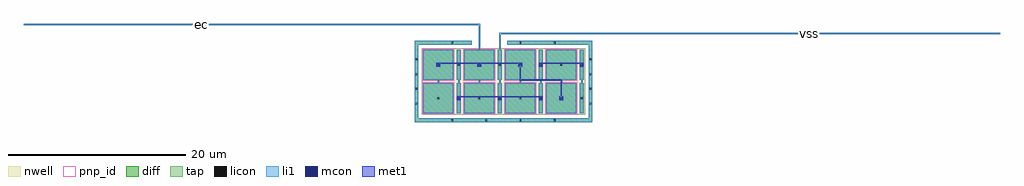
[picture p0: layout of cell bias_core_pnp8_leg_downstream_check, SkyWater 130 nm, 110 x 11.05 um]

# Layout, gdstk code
import gdstk
lib = gdstk.Library(unit=1e-6, precision=1e-09)
def R(c, l, rs):  # rectangles x0, y0, x1, y1
    for r in rs: c.add(gdstk.rectangle(r[:2], r[2:], *l))
def A(c, l, x, y, w, h, nx, ny, dx, dy):  # array of equal rectangles
    R(c, l, [(x+i*dx, y+j*dy, x+i*dx+w, y+j*dy+h) for i in range(nx) for j in range(ny)])
def P(c, l, *ps):  # polygons
    for p in ps: c.add(gdstk.Polygon(p, *l))
nwell = (64, 20)
diff = (65, 20)
tap = (65, 44)
licon = (66, 44)
li1 = (67, 20)
mcon = (67, 44)
met1 = (68, 20)
pnp_id = (82, 44)

stub_vss__promo_stub = lib.new_cell('stub_vss__promo_stub')
R(stub_vss__promo_stub, li1, [(0,0,1.5,0.17)])

stub_ec__promo_stub = lib.new_cell('stub_ec__promo_stub')
R(stub_ec__promo_stub, li1, [(0,0,1.5,0.17)])

bjt_array = lib.new_cell('bjt_array')
R(bjt_array, nwell, [(-0.15,-0.15,18.23,7.35)])
A(bjt_array, diff, 0, 0, 3.4, 3.4, 4, 2, 4.62, 3.8)
A(bjt_array, diff, 3.8, 0, 0.42, 3.4, 4, 2, 4.62, 3.8)
P(bjt_array, diff, [(-0.97,-0.97),(-0.97,8.17),(5.475,8.17),(5.475,7.75),(-0.55,7.75),(-0.55,-0.55),(18.63,-0.55),(18.63,7.75),(9.475,7.75),(9.475,8.17),(19.05,8.17),(19.05,-0.97)])
A(bjt_array, tap, 3.8, 0, 0.42, 3.4, 4, 2, 4.62, 3.8)
A(bjt_array, licon, 3.176, -0.87, 0.22, 0.22, 4, 1, 3.836, 0)
A(bjt_array, licon, -0.87, 1, 0.22, 0.22, 1, 4, 0, 1.66)
A(bjt_array, licon, 18.73, 1, 0.22, 0.22, 1, 4, 0, 1.66)
A(bjt_array, licon, 1.59, 1.59, 0.22, 0.22, 8, 2, 2.31, 3.8)
R(bjt_array, licon, [(3.176,7.85,3.396,8.07), (10.848,7.85,11.068,8.07), (14.684,7.85,14.904,8.07)])
A(bjt_array, li1, 0, 0, 3.4, 3.4, 4, 2, 4.62, 3.8)
A(bjt_array, li1, 3.8, 0, 0.42, 3.4, 4, 2, 4.62, 3.8)
P(bjt_array, li1, [(-0.97,-0.97),(-0.97,8.17),(5.475,8.17),(5.475,7.75),(-0.55,7.75),(-0.55,-0.55),(18.63,-0.55),(18.63,7.75),(9.475,7.75),(9.475,8.17),(19.05,8.17),(19.05,-0.97)])
A(bjt_array, pnp_id, -0.1, -0.1, 3.6, 3.6, 4, 2, 4.62, 3.8)

array__pnp8 = lib.new_cell('array__pnp8')
array__pnp8.add(gdstk.Reference(bjt_array, (0,0)))

sub__bias_core_pnp8_leg = lib.new_cell('sub__bias_core_pnp8_leg')
A(sub__bias_core_pnp8_leg, li1, 1.59, 1.7, 0.22, 0.17, 8, 1, 2.31, 0)
A(sub__bias_core_pnp8_leg, li1, 1.59, 5.5, 0.22, 0.17, 3, 1, 2.31, 0)
A(sub__bias_core_pnp8_leg, li1, 8.52, 5.5, 0.22, 0.17, 5, 1, 2.31, 0)
R(sub__bias_core_pnp8_leg, li1, [(3.8,1.49,4.22,1.91), (8.42,1.49,8.84,1.91), (8.42,1.49,8.84,1.91), (13.04,1.49,13.46,1.91), (15.35,1.49,15.77,1.91), (1.49,5.29,1.91,5.71), (6.11,5.29,6.53,5.71), (6.11,5.29,6.53,5.71), (10.73,5.29,11.15,5.71), (10.73,5.29,11.15,5.71), (13.04,5.29,13.46,5.71), (17.66,5.29,18.08,5.71), (6.21,5.5,6.43,5.67), (8.52,5.5,8.74,5.67)])
R(sub__bias_core_pnp8_leg, mcon, [(3.9,1.59,4.12,1.81), (8.52,1.59,8.74,1.81), (8.52,1.59,8.74,1.81), (13.14,1.59,13.36,1.81), (15.45,1.59,15.67,1.81), (1.59,5.39,1.81,5.61), (6.21,5.39,6.43,5.61), (6.21,5.39,6.43,5.61), (10.83,5.39,11.05,5.61), (10.83,5.39,11.05,5.61), (13.14,5.39,13.36,5.61), (17.76,5.39,17.98,5.61)])
R(sub__bias_core_pnp8_leg, met1, [(3.8,1.49,4.22,1.91), (8.42,1.49,8.84,1.91), (8.42,1.49,8.84,1.91), (13.04,1.49,13.46,1.91), (15.35,1.49,15.77,1.91), (1.49,5.29,1.91,5.71), (6.11,5.29,6.53,5.71), (6.11,5.29,6.53,5.71), (10.73,5.29,11.15,5.71), (10.73,5.29,11.15,5.71), (13.04,5.29,13.46,5.71), (17.66,5.29,18.08,5.71)])
sub__bias_core_pnp8_leg.add(gdstk.FlexPath([(8.63,1.7),(8.63,5.5)], 0.17, ends="flush", simple_path=True, layer=67, datatype=20))  # li1
sub__bias_core_pnp8_leg.add(gdstk.FlexPath([(13.25,5.5),(13.25,1.7)], 0.17, ends="flush", simple_path=True, layer=67, datatype=20))  # li1
sub__bias_core_pnp8_leg.add(gdstk.FlexPath([(4.01,1.7),(4.01,5.5)], 0.17, ends="flush", simple_path=True, layer=67, datatype=20))  # li1
sub__bias_core_pnp8_leg.add(gdstk.FlexPath([(17.87,5.5),(17.87,1.7)], 0.17, ends="flush", simple_path=True, layer=67, datatype=20))  # li1
sub__bias_core_pnp8_leg.add(gdstk.FlexPath([(8.63,5.5),(8.63,9),(22,9)], 0.17, ends="flush", simple_path=True, layer=67, datatype=20))  # li1
sub__bias_core_pnp8_leg.add(gdstk.FlexPath([(6.32,1.7),(6.32,5.5)], 0.17, ends="flush", simple_path=True, layer=67, datatype=20))  # li1
sub__bias_core_pnp8_leg.add(gdstk.FlexPath([(10.94,5.5),(10.94,1.7)], 0.17, ends="flush", simple_path=True, layer=67, datatype=20))  # li1
sub__bias_core_pnp8_leg.add(gdstk.FlexPath([(1.7,1.7),(1.7,5.5)], 0.17, ends="flush", simple_path=True, layer=67, datatype=20))  # li1
sub__bias_core_pnp8_leg.add(gdstk.FlexPath([(15.56,5.5),(15.56,1.7)], 0.17, ends="flush", simple_path=True, layer=67, datatype=20))  # li1
sub__bias_core_pnp8_leg.add(gdstk.FlexPath([(6.32,5.5),(6.32,10),(-3.5,10)], 0.17, ends="flush", simple_path=True, layer=67, datatype=20))  # li1
sub__bias_core_pnp8_leg.add(gdstk.FlexPath([(13.25,5.5),(13.25,5.67),(17.87,5.67),(17.87,5.5)], 0.14, ends="flush", simple_path=True, layer=68, datatype=20))  # met1
sub__bias_core_pnp8_leg.add(gdstk.FlexPath([(8.63,1.7),(8.63,1.87),(4.01,1.87),(4.01,1.7)], 0.14, ends="flush", simple_path=True, layer=68, datatype=20))  # met1
sub__bias_core_pnp8_leg.add(gdstk.FlexPath([(8.63,1.7),(8.63,1.87),(13.25,1.87),(13.25,1.7)], 0.14, ends="flush", simple_path=True, layer=68, datatype=20))  # met1
sub__bias_core_pnp8_leg.add(gdstk.FlexPath([(10.94,5.5),(10.94,5.67),(6.32,5.67),(6.32,5.5)], 0.14, ends="flush", simple_path=True, layer=68, datatype=20))  # met1
sub__bias_core_pnp8_leg.add(gdstk.FlexPath([(6.32,5.5),(6.32,5.67),(1.7,5.67),(1.7,5.5)], 0.14, ends="flush", simple_path=True, layer=68, datatype=20))  # met1
sub__bias_core_pnp8_leg.add(gdstk.FlexPath([(10.94,5.5),(10.94,3.77),(15.56,3.77),(15.56,1.7)], 0.14, ends="flush", simple_path=True, layer=68, datatype=20))  # met1
sub__bias_core_pnp8_leg.add(gdstk.Reference(stub_vss__promo_stub, (22,8.915)))
sub__bias_core_pnp8_leg.add(gdstk.Reference(stub_ec__promo_stub, (-5,9.915)))
sub__bias_core_pnp8_leg.add(gdstk.Reference(array__pnp8, (0,0)))
sub__bias_core_pnp8_leg.add(gdstk.Label('vss', (8.63,3.6), layer=67, texttype=5))
sub__bias_core_pnp8_leg.add(gdstk.Label('ec', (6.32,3.6), layer=67, texttype=5))
sub__bias_core_pnp8_leg.add(gdstk.Label('ec', (-5,10), layer=67, texttype=5))
sub__bias_core_pnp8_leg.add(gdstk.Label('vss', (23.5,9), layer=67, texttype=5))

dummy_ec__promo_stub = lib.new_cell('dummy_ec__promo_stub')
R(dummy_ec__promo_stub, li1, [(0,0,1.5,0.17)])

dummy_vss__promo_stub = lib.new_cell('dummy_vss__promo_stub')
R(dummy_vss__promo_stub, li1, [(0,0,1.5,0.17)])

bias_core_pnp8_leg_downs = lib.new_cell('bias_core_pnp8_leg_downstream_check')
bias_core_pnp8_leg_downs.add(gdstk.FlexPath([(-5,10),(-45,10)], 0.17, ends="flush", simple_path=True, layer=67, datatype=20))  # li1
bias_core_pnp8_leg_downs.add(gdstk.FlexPath([(23.5,9),(63.5,9)], 0.17, ends="flush", simple_path=True, layer=67, datatype=20))  # li1
bias_core_pnp8_leg_downs.add(gdstk.Reference(sub__bias_core_pnp8_leg, (0,0)))
bias_core_pnp8_leg_downs.add(gdstk.Reference(dummy_ec__promo_stub, (-45,9.915)))
bias_core_pnp8_leg_downs.add(gdstk.Reference(dummy_vss__promo_stub, (63.5,8.915)))
bias_core_pnp8_leg_downs.add(gdstk.Label('ec', (-25,10), layer=67, texttype=5))
bias_core_pnp8_leg_downs.add(gdstk.Label('vss', (43.5,9), layer=67, texttype=5))

lib.write_gds('bias_core_pnp8_leg_downstream_check.gds')
